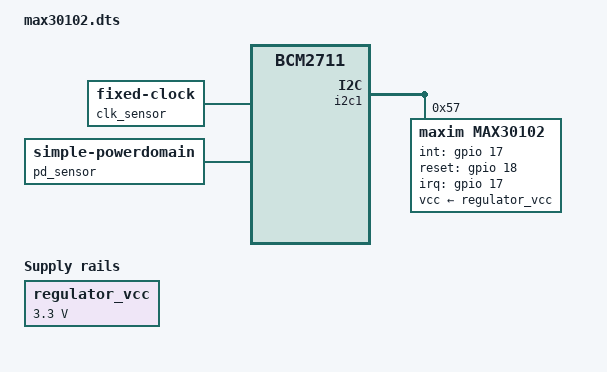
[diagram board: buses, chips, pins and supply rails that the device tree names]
// max30102.dts: Device tree source for MAX30102.
// Supplemented with full overlay and fragments.
// No changes to original code, only added comments.

 /dts-v1/;  // DTS version.
/plugin/;  // Plugin mode.

 / {  // Root node.
    compatible = "brcm,bcm2711";  // Compatible string.

    fragment@0 {  // Fragment 0.
        target = <&i2c1>;  // Target I2C1.
        __overlay__ {  // Overlay.
            status = "okay";  // Enable.

            max30102: max30102@57 {  // Node for sensor.
                compatible = "maxim,max30102";  // Compatible.
                reg = <0x57>;  // Address.
                int-gpios = <&gpio 17 0>;  // Interrupt GPIO.
                reset-gpios = <&gpio 18 0>;  // Reset GPIO.
                led1-current-mA = <6>;  // LED1 current.
                led2-current-mA = <6>;  // LED2 current.
                interrupt-parent = <&gpio>;  // Interrupt parent.
                interrupts = <17 IRQ_TYPE_EDGE_FALLING>;  // Interrupt spec.
                vcc-supply = <&regulator_vcc>;  // Supply.
                #io-channel-cells = <0>;  // No cells.
                pinctrl-names = "default", "sleep";  // Pinctrl names.
                pinctrl-0 = <&max30102_pins_active>;  // Active.
                pinctrl-1 = <&max30102_pins_sleep>;  // Sleep.
                clocks = <&clk_sensor>;  // Clocks.
                clock-names = "sensor_clk";  // Clock name.
                power-domains = <&pd_sensor>;  // Power domain.
                dma-channels = <&dma0>;  // DMA.
            };
        };
    };

    fragment@1 {  // Fragment 1.
        target-path = "/";  // Target root.
        __overlay__ {  // Overlay.
            regulator_vcc: regulator-vcc {  // Regulator node.
                compatible = "regulator-fixed";  // Fixed regulator.
                regulator-name = "vcc";  // Name.
                regulator-min-microvolt = <3300000>;  // Min voltage.
                regulator-max-microvolt = <3300000>;  // Max voltage.
                regulator-always-on;  // Always on.
            };

            &pinctrl {  // Pinctrl reference.
                max30102_pins_active: max30102_active {  // Active pins.
                    pins = "gpio17", "gpio18";  // Pins.
                    function = "gpio_in", "gpio_out";  // Functions.
                };
                max30102_pins_sleep: max30102_sleep {  // Sleep pins.
                    pins = "gpio17", "gpio18";  // Pins.
                    function = "gpio_in", "gpio_out";  // Functions.
                    bias-pull-up;  // Bias.
                };
            };

            clk_sensor: clk-sensor {  // Clock node.
                compatible = "fixed-clock";  // Fixed clock.
                #clock-cells = <0>;  // Cells.
                clock-frequency = <24000000>;  // Frequency.
            };

            pd_sensor: pd-sensor {  // Power domain.
                compatible = "simple-powerdomain";  // Simple PD.
                #power-domain-cells = <0>;  // Cells.
            };
        };
    };
};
